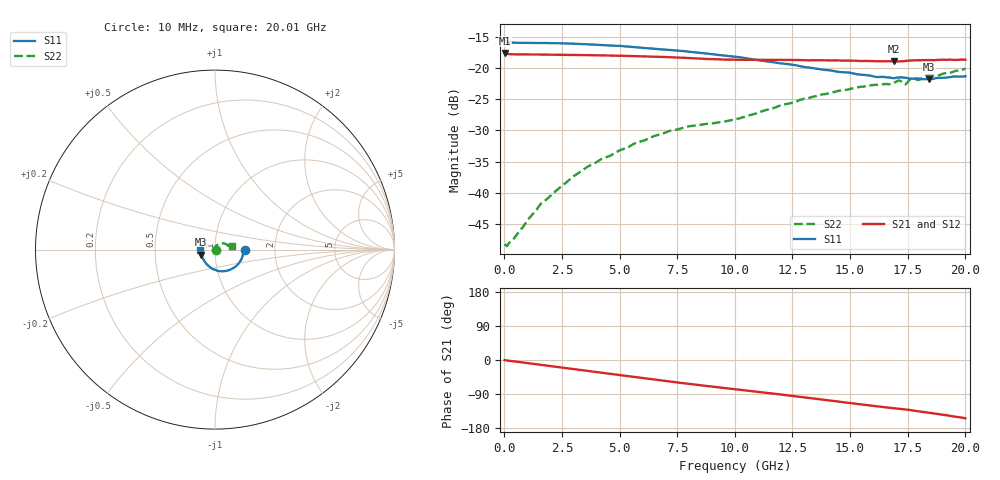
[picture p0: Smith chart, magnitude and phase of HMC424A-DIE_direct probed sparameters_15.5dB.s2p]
!s2p File: Measurements: S11, S21, S12, S22
# GHz S dB R 50.0
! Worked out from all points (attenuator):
!   201 points, 10 MHz to 20.01 GHz, reference 50 ohm
!   highest |S21| = -17.64 dB at 10 MHz (marker M1); lowest = -19.0 dB at 16.91 GHz (marker M2)
!   lowest |S11| = -21.8 dB at 18.41 GHz (marker M3), VSWR 1.18, Z = 42.9 - j2.39 ohm
!   |S11| at or under -10 dB: start of sweep to end of sweep
!   |S22| runs from -48.5 to -20.1 dB; largest |S21 - S12| = 0.001
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0.01  -15.62 -0.7  -17.64 -0.3  -17.65 -0.4  -48.17 -18.1
0.11  -15.87 -1.8  -17.77 -1.4  -17.77 -1.4  -48.50 -117.4
0.41  -15.98 -3.5  -17.84 -3.6  -17.83 -3.6  -47.29 173.7
1.61  -16.03 -11.8  -17.88 -13.0  -17.87 -13.0  -41.61 113.3
3.01  -16.14 -22.4  -17.94 -24.0  -17.94 -24.0  -37.32 91.8
3.41  -16.21 -25.4  -17.96 -27.1  -17.96 -27.1  -36.30 87.9
4.21  -16.34 -31.6  -18.00 -33.5  -18.00 -33.5  -34.57 81.3
5.01  -16.49 -37.9  -18.06 -39.8  -18.06 -39.7  -33.16 75.2
6.71  -17.01 -51.1  -18.24 -53.1  -18.24 -53.1  -30.67 63.3
7.91  -17.38 -60.4  -18.41 -62.3  -18.42 -62.3  -29.41 54.9
10.01  -18.22 -78.6  -18.69 -76.9  -18.70 -76.8  -28.25 47.2
13.41  -20.05 -109.3  -18.78 -101.5  -18.79 -101.4  -24.59 36.0
15.41  -21.07 -128.6  -18.90 -116.6  -18.88 -116.5  -23.06 25.4
16.71  -21.54 -142.6  -18.94 -125.9  -18.92 -125.9  -22.63 19.8
16.91  -21.66 -144.3  -18.97 -127.3  -18.91 -127.3  -22.40 20.1
17.11  -21.55 -145.9  -18.97 -128.7  -18.90 -128.7  -22.01 18.2
17.41  -21.58 -149.7  -18.89 -130.5  -18.90 -130.9  -22.65 18.0
17.71  -21.74 -152.1  -18.80 -133.0  -18.84 -133.2  -21.59 16.8
18.01  -21.71 -155.7  -18.78 -135.8  -18.83 -135.6  -21.92 16.5
18.41  -21.83 -160.0  -18.76 -139.0  -18.79 -139.0  -21.25 14.3
18.81  -21.60 -164.3  -18.72 -142.4  -18.74 -142.1  -21.24 14.0
20.01  -21.33 -178.5  -18.71 -153.8  -18.68 -153.7  -20.11 11.1
